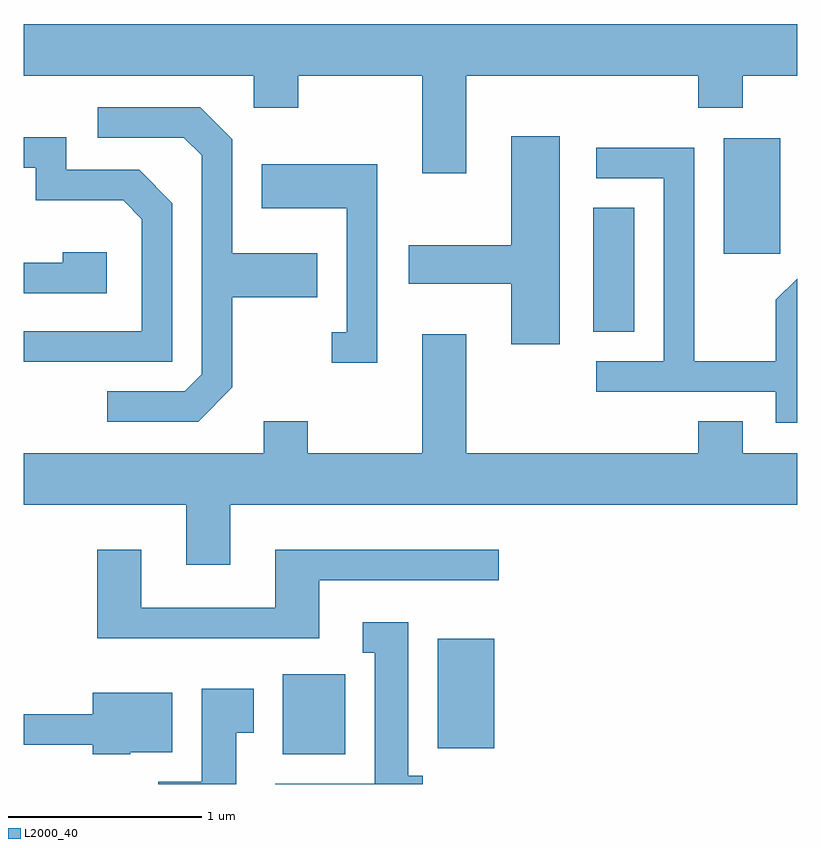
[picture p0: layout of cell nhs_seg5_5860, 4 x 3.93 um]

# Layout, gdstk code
import gdstk
lib = gdstk.Library(unit=1e-6, precision=1e-09)
def R(c, l, rs):  # rectangles x0, y0, x1, y1
    for r in rs: c.add(gdstk.rectangle(r[:2], r[2:], *l))
def P(c, l, *ps):  # polygons
    for p in ps: c.add(gdstk.Polygon(p, *l))
L2000_40 = (2000, 40)

nhs_seg5_5860 = lib.new_cell('nhs_seg5_5860')
R(nhs_seg5_5860, L2000_40, [(360.951,1402.226,361.274,1402.639), (361.751,1402.256,362.044,1402.824), (362.556,1404.411,362.769,1405.054), (363.231,1404.816,363.524,1405.414)])
P(nhs_seg5_5860, L2000_40, [(361.899,1405.736),(363.101,1405.736),(363.101,1405.571),(363.329,1405.571),(363.329,1405.736),(363.611,1405.736),(363.611,1406.004),(359.611,1406.004),(359.611,1405.736),(360.801,1405.736),(360.801,1405.571),(361.029,1405.571),(361.029,1405.736),(361.671,1405.736),(361.671,1405.231),(361.899,1405.231)],
  [(360.689,1404.124),(360.689,1404.591),(361.129,1404.591),(361.129,1404.819),(360.689,1404.819),(360.689,1405.407),(360.522,1405.574),(359.993,1405.574),(359.993,1405.416),(360.439,1405.416),(360.531,1405.324),(360.531,1404.192),(360.444,1404.104),(360.043,1404.104),(360.043,1403.946),(360.512,1403.946)],
  [(362.384,1405.424),(362.131,1405.424),(362.131,1404.859),(361.601,1404.859),(361.601,1404.661),(362.131,1404.661),(362.131,1404.346),(362.384,1404.346)],
  [(360.379,1405.077),(360.207,1405.249),(359.829,1405.249),(359.829,1405.419),(359.611,1405.419),(359.611,1405.261),(359.671,1405.261),(359.671,1405.091),(360.124,1405.091),(360.221,1404.994),(360.221,1404.414),(359.611,1404.414),(359.611,1404.256),(360.379,1404.256)],
  [(363.611,1404.687),(363.501,1404.577),(363.501,1404.259),(363.079,1404.259),(363.079,1405.364),(362.573,1405.364),(362.573,1405.206),(362.921,1405.206),(362.921,1404.259),(362.573,1404.259),(362.573,1404.101),(363.501,1404.101),(363.501,1403.941),(363.611,1403.941)],
  [(361.439,1405.279),(360.841,1405.279),(360.841,1405.051),(361.281,1405.051),(361.281,1404.409),(361.203,1404.409),(361.203,1404.251),(361.439,1404.251)],
  [(360.039,1404.824),(359.811,1404.824),(359.811,1404.769),(359.611,1404.769),(359.611,1404.611),(360.039,1404.611)],
  [(360.679,1403.516),(363.611,1403.516),(363.611,1403.784),(363.329,1403.784),(363.329,1403.949),(363.101,1403.949),(363.101,1403.784),(361.899,1403.784),(361.899,1404.399),(361.671,1404.399),(361.671,1403.784),(361.079,1403.784),(361.079,1403.949),(360.851,1403.949),(360.851,1403.784),(359.611,1403.784),(359.611,1403.516),(360.451,1403.516),(360.451,1403.206),(360.679,1403.206)],
  [(361.139,1403.126),(362.068,1403.126),(362.068,1403.284),(360.911,1403.284),(360.911,1402.984),(360.219,1402.984),(360.219,1403.284),(359.991,1403.284),(359.991,1402.826),(361.139,1402.826)],
  [(361.674,1402.114),(361.599,1402.114),(361.599,1402.909),(361.363,1402.909),(361.363,1402.751),(361.426,1402.751),(361.426,1402.074),(360.911,1402.074),(360.911,1402.072),(361.674,1402.072)],
  [(360.709,1402.336),(360.799,1402.336),(360.799,1402.564),(360.531,1402.564),(360.531,1402.084),(360.306,1402.084),(360.306,1402.072),(360.709,1402.072)],
  [(360.16,1402.236),(360.379,1402.236),(360.379,1402.544),(359.966,1402.544),(359.966,1402.434),(359.611,1402.434),(359.611,1402.276),(359.966,1402.276),(359.966,1402.226),(360.16,1402.226)])

lib.write_gds('nhs_seg5_5860.gds')
